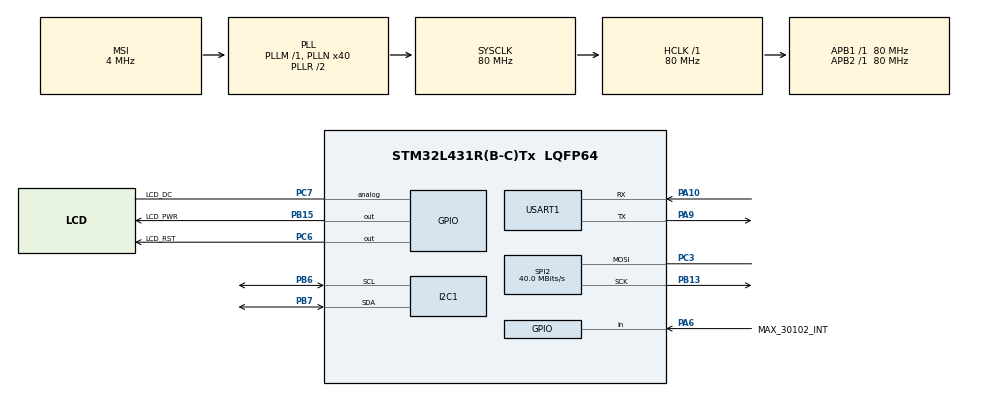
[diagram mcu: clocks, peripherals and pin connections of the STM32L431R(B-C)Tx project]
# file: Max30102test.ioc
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Mcu.Family=STM32L4
Mcu.Name=STM32L431R(B-C)Tx
Mcu.Package=LQFP64
NVIC.PriorityGroup=NVIC_PRIORITYGROUP_4
PA10.Mode=Asynchronous
PA10.Signal=USART1_RX
PA13\ (JTMS-SWDIO).Mode=Serial_Wire
PA13\ (JTMS-SWDIO).Signal=SYS_JTMS-SWDIO
PA14\ (JTCK-SWCLK).Mode=Serial_Wire
PA14\ (JTCK-SWCLK).Signal=SYS_JTCK-SWCLK
PA6.GPIO_Label=MAX_30102_INT
PA6.Signal=GPIO_Input
PA9.Mode=Asynchronous
PA9.Signal=USART1_TX
PB13.Mode=Simplex_Bidirectional_Master
PB13.Signal=SPI2_SCK
PB15.GPIO_Label=LCD_PWR
PB15.Signal=GPIO_Output
PB6.Mode=I2C
PB6.Signal=I2C1_SCL
PB7.Mode=I2C
PB7.Signal=I2C1_SDA
PC14-OSC32_IN\ (PC14).Mode=LSE-External-Oscillator
PC14-OSC32_IN\ (PC14).Signal=RCC_OSC32_IN
PC15-OSC32_OUT\ (PC15).Mode=LSE-External-Oscillator
PC15-OSC32_OUT\ (PC15).Signal=RCC_OSC32_OUT
PC3.Mode=Simplex_Bidirectional_Master
PC3.Signal=SPI2_MOSI
PC6.GPIO_Label=LCD_RST
PC6.Signal=GPIO_Output
PC7.GPIO_Label=LCD_DC
PC7.Signal=GPIO_Analog
PH0-OSC_IN\ (PH0).Mode=HSE-External-Oscillator
PH0-OSC_IN\ (PH0).Signal=RCC_OSC_IN
PH1-OSC_OUT\ (PH1).Mode=HSE-External-Oscillator
PH1-OSC_OUT\ (PH1).Signal=RCC_OSC_OUT
ProjectManager.HeapSize=0x200
ProjectManager.StackSize=0x400
ProjectManager.TargetToolchain=MDK-ARM V5
RCC.AHBFreq_Value=80000000
RCC.APB1Freq_Value=80000000
RCC.APB1TimFreq_Value=80000000
RCC.APB2Freq_Value=80000000
RCC.APB2TimFreq_Value=80000000
RCC.CortexFreq_Value=80000000
RCC.HCLKFreq_Value=80000000
RCC.HSE_VALUE=8000000
RCC.HSI48_VALUE=48000000
RCC.HSI_VALUE=16000000
RCC.MSI_VALUE=4000000
RCC.PLLN=40
RCC.SYSCLKFreq_VALUE=80000000
RCC.SYSCLKSource=RCC_SYSCLKSOURCE_PLLCLK
RCC.VCOOutputFreq_Value=160000000
SPI2.CalculateBaudRate=40.0 MBits/s
SPI2.Direction=SPI_DIRECTION_1LINE
SPI2.Mode=SPI_MODE_MASTER
SPI2.VirtualType=VM_MASTER
USART1.VirtualMode-Asynchronous=VM_ASYNC
board=custom

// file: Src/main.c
/* USER CODE BEGIN Header */
/**
  ******************************************************************************
  * @file           : main.c
  * @brief          : Main program body
  ******************************************************************************
  * @attention
  *
  * <h2><center>&copy; Copyright (c) 2019 STMicroelectronics.
  * All rights reserved.</center></h2>
  *
  * This software component is licensed by ST under BSD 3-Clause license,
  * the "License"; You may not use this file except in compliance with the
  * License. You may obtain a copy of the License at:
  *                        opensource.org/licenses/BSD-3-Clause
  *
  ******************************************************************************
  */
/* USER CODE END Header */

#include "main.h"
#include "i2c.h"
#include "spi.h"
#include "usart.h"
#include "gpio.h"

/* USER CODE BEGIN Includes */
#include "max30102.h"
#include "algorithm.h"
/* USER CODE END Includes */

void SystemClock_Config(void);

/* USER CODE BEGIN 0 */
#define MAX_BRIGHTNESS 255
uint32_t aun_ir_buffer[500]; //IR LED sensor data
int32_t n_ir_buffer_length;    //data length
uint32_t aun_red_buffer[500];    //Red LED sensor data
int32_t n_sp02; //SPO2 value
int8_t ch_spo2_valid;   //indicator to show if the SP02 calculation is valid
int32_t n_heart_rate;   //heart rate value
int8_t  ch_hr_valid;    //indicator to show if the heart rate calculation is valid
/* USER CODE END 0 */

int main(void)
{

  /* MCU Configuration--------------------------------------------------------*/

  /* Reset of all peripherals, Initializes the Flash interface and the Systick. */
  HAL_Init();

  /* Configure the system clock */
  SystemClock_Config();

  /* Initialize all configured peripherals */
  MX_GPIO_Init();
  MX_USART1_UART_Init();
  MX_I2C1_Init();
  MX_SPI2_Init();
  /* USER CODE BEGIN 2 */
  printf("This is smartlife\n");
	 uint8_t stu;
  /* USER CODE END 2 */

  /* Infinite loop */
  /* USER CODE BEGIN WHILE */
  while (1)
  {
		uint32_t un_min, un_max, un_prev_data;  //variables to calculate the on-board LED brightness that reflects the heartbeats
		int i;
    int32_t n_brightness;
    float f_temp;
    /* USER CODE END WHILE */

    /* USER CODE BEGIN 3 */
	   stu=maxim_max30102_init();
		  if(stu==1)
			{
				 printf("INT ok\n");
				while(1)
				{

						un_min=0x3FFFF;
						un_max=0;
            n_ir_buffer_length=500; //buffer length of 100 stores 5 seconds of samples running at 100sps

						for( i=0;i<n_ir_buffer_length;i++)
						{

								while(HAL_GPIO_ReadPin(MAX_30102_INT_GPIO_Port, MAX_30102_INT_Pin) == SET);   //wait until the interrupt pin asserts

								maxim_max30102_read_fifo((aun_red_buffer+i), (aun_ir_buffer+i));  //read from MAX30102 FIFO

								if(un_min>aun_red_buffer[i])
										un_min=aun_red_buffer[i];    //update signal min
								if(un_max<aun_red_buffer[i])
										un_max=aun_red_buffer[i];    //update signal max
								printf("red=");
								printf("%i", aun_red_buffer[i]);
								printf(", ir=");
								printf("%i\n\r", aun_ir_buffer[i]);
						}
						un_prev_data=aun_red_buffer[i];

						 maxim_heart_rate_and_oxygen_saturation(aun_ir_buffer, n_ir_buffer_length, aun_red_buffer, &n_sp02, &ch_spo2_valid, &n_heart_rate, &ch_hr_valid);
						while(1)
						{
								i=0;
								un_min=0x3FFFF;
								un_max=0;

								//dumping the first 100 sets of samples in the memory and shift the last 400 sets of samples to the top
								for(i=100;i<500;i++)
								{
										aun_red_buffer[i-100]=aun_red_buffer[i];
										aun_ir_buffer[i-100]=aun_ir_buffer[i];

										//update the signal min and max
										if(un_min>aun_red_buffer[i])
										un_min=aun_red_buffer[i];
										if(un_max<aun_red_buffer[i])
										un_max=aun_red_buffer[i];
								}

								//take 100 sets of samples before calculating the heart rate.
								for(i=400;i<500;i++)
								{
										un_prev_data=aun_red_buffer[i-1];
										while(HAL_GPIO_ReadPin(MAX_30102_INT_GPIO_Port, MAX_30102_INT_Pin) == SET);
										maxim_max30102_read_fifo((aun_red_buffer+i), (aun_ir_buffer+i));

										if(aun_red_buffer[i]>un_prev_data)//just to determine the brightness of LED according to the deviation of adjacent two AD data
										{
												f_temp=aun_red_buffer[i]-un_prev_data;
												f_temp/=(un_max-un_min);
												f_temp*=MAX_BRIGHTNESS;
												n_brightness-=(int)f_temp;
												if(n_brightness<0)
														n_brightness=0;
										}
										else
										{
												f_temp=un_prev_data-aun_red_buffer[i];
												f_temp/=(un_max-un_min);
												f_temp*=MAX_BRIGHTNESS;
												n_brightness+=(int)f_temp;
												if(n_brightness>MAX_BRIGHTNESS)
												n_brightness=MAX_BRIGHTNESS;
										}

//										pwmled.write(1-(float)n_brightness/256);//pwm control led brightness
//										if(n_brightness<120)
//											led=1;
//										else
//											led=0;

										//send samples and calculation result to terminal program through UART
//									    printf("red=");
//											printf("%i", aun_red_buffer[i]);
//											printf(", ir=");
//											printf("%i", aun_ir_buffer[i]);
//											printf(", HR=%i, ", n_heart_rate);
//											printf("HRvalid=%i, ", ch_hr_valid);
//											printf("SpO2=%i, ", n_sp02);
//											printf("SPO2Valid=%i\n\r", ch_spo2_valid);

								}

		            			printf("���ʣ�%i\n\r", n_heart_rate);

								     maxim_heart_rate_and_oxygen_saturation(aun_ir_buffer, n_ir_buffer_length, aun_red_buffer, &n_sp02, &ch_spo2_valid, &n_heart_rate, &ch_hr_valid);
						}

				}
			}
			else
			{
			   stu=maxim_max30102_init();
			}

  }
  /* USER CODE END 3 */
}

void SystemClock_Config(void)
{
  RCC_OscInitTypeDef RCC_OscInitStruct = {0};
  RCC_ClkInitTypeDef RCC_ClkInitStruct = {0};
  RCC_PeriphCLKInitTypeDef PeriphClkInit = {0};

  /** Configure LSE Drive Capability
  */
  HAL_PWR_EnableBkUpAccess();
  __HAL_RCC_LSEDRIVE_CONFIG(RCC_LSEDRIVE_LOW);
  /** Initializes the CPU, AHB and APB busses clocks
  */
  RCC_OscInitStruct.OscillatorType = RCC_OSCILLATORTYPE_LSE|RCC_OSCILLATORTYPE_MSI;
  RCC_OscInitStruct.LSEState = RCC_LSE_ON;
  RCC_OscInitStruct.MSIState = RCC_MSI_ON;
  RCC_OscInitStruct.MSICalibrationValue = 0;
  RCC_OscInitStruct.MSIClockRange = RCC_MSIRANGE_6;
  RCC_OscInitStruct.PLL.PLLState = RCC_PLL_ON;
  RCC_OscInitStruct.PLL.PLLSource = RCC_PLLSOURCE_MSI;
  RCC_OscInitStruct.PLL.PLLM = 1;
  RCC_OscInitStruct.PLL.PLLN = 40;
  RCC_OscInitStruct.PLL.PLLP = RCC_PLLP_DIV7;
  RCC_OscInitStruct.PLL.PLLQ = RCC_PLLQ_DIV2;
  RCC_OscInitStruct.PLL.PLLR = RCC_PLLR_DIV2;
  if (HAL_RCC_OscConfig(&RCC_OscInitStruct) != HAL_OK)
  {
    Error_Handler();
  }
  /** Initializes the CPU, AHB and APB busses clocks
  */
  RCC_ClkInitStruct.ClockType = RCC_CLOCKTYPE_HCLK|RCC_CLOCKTYPE_SYSCLK
                              |RCC_CLOCKTYPE_PCLK1|RCC_CLOCKTYPE_PCLK2;
  RCC_ClkInitStruct.SYSCLKSource = RCC_SYSCLKSOURCE_PLLCLK;
  RCC_ClkInitStruct.AHBCLKDivider = RCC_SYSCLK_DIV1;
  RCC_ClkInitStruct.APB1CLKDivider = RCC_HCLK_DIV1;
  RCC_ClkInitStruct.APB2CLKDivider = RCC_HCLK_DIV1;

  if (HAL_RCC_ClockConfig(&RCC_ClkInitStruct, FLASH_LATENCY_4) != HAL_OK)
  {
    Error_Handler();
  }
  PeriphClkInit.PeriphClockSelection = RCC_PERIPHCLK_USART1|RCC_PERIPHCLK_I2C1;
  PeriphClkInit.Usart1ClockSelection = RCC_USART1CLKSOURCE_PCLK2;
  PeriphClkInit.I2c1ClockSelection = RCC_I2C1CLKSOURCE_PCLK1;
  if (HAL_RCCEx_PeriphCLKConfig(&PeriphClkInit) != HAL_OK)
  {
    Error_Handler();
  }
  /** Configure the main internal regulator output voltage
  */
  if (HAL_PWREx_ControlVoltageScaling(PWR_REGULATOR_VOLTAGE_SCALE1) != HAL_OK)
  {
    Error_Handler();
  }
  /** Enable MSI Auto calibration
  */
  HAL_RCCEx_EnableMSIPLLMode();
}

void Error_Handler(void)
{
}

/************************ (C) COPYRIGHT STMicroelectronics *****END OF FILE****/
